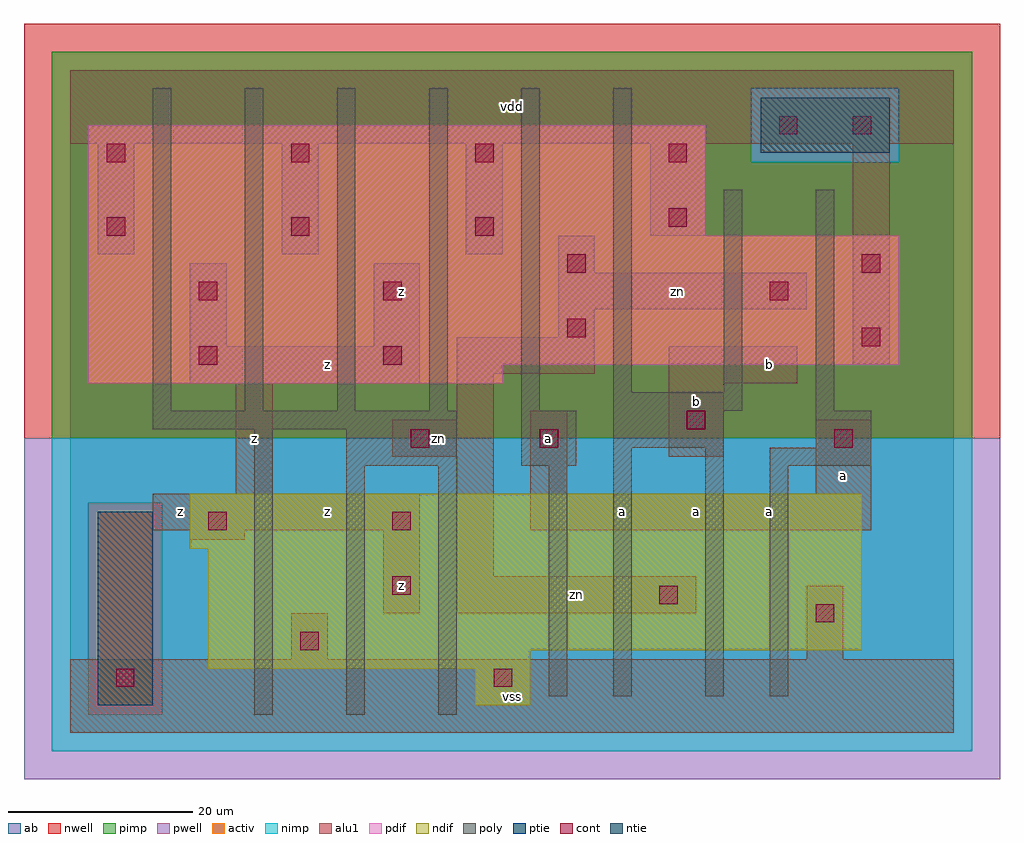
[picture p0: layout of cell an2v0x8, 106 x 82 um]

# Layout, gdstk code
import gdstk
lib = gdstk.Library(unit=1e-6, precision=1e-09)
def R(c, l, rs):  # rectangles x0, y0, x1, y1
    for r in rs: c.add(gdstk.rectangle(r[:2], r[2:], *l))
def A(c, l, x, y, w, h, nx, ny, dx, dy):  # array of equal rectangles
    R(c, l, [(x+i*dx, y+j*dy, x+i*dx+w, y+j*dy+h) for i in range(nx) for j in range(ny)])
ndif = (3, 0)
pdif = (4, 0)
ntie = (5, 0)
ptie = (6, 0)
cont = (25, 0)
pwell = (41, 0)
nwell = (42, 0)
activ = (43, 0)
pimp = (44, 0)
nimp = (45, 0)
poly = (46, 0)
alu1 = (49, 0)
ab = (63, 0)

an2v0x8 = lib.new_cell('an2v0x8')
R(an2v0x8, ndif, [(44,3,50,7), (15,7,50,9), (15,9,86,20), (13,20,86,26)])
R(an2v0x8, pdif, [(2,38,47,40), (2,40,90,54), (2,54,69,66)])
R(an2v0x8, ntie, [(75,63,89,69)])
R(an2v0x8, ptie, [(3,3,9,24)])
A(an2v0x8, cont, 4, 54, 2, 2, 3, 2, 20, 8)
R(an2v0x8, cont, [(5,5,7,7), (46,5,48,7), (25,9,27,11), (81,12,83,14), (64,14,66,16), (35,15,37,17), (15,22,17,24), (35,22,37,24), (37,31,39,33), (51,31,53,33), (83,31,85,33), (67,33,69,35), (14,40,16,42), (34,40,36,42), (86,42,88,44), (54,43,56,45), (14,47,16,49), (34,47,36,49), (76,47,78,49), (54,50,56,52), (86,50,88,52), (65,55,67,57), (65,62,67,64), (77,65,79,67), (85,65,87,67)])
R(an2v0x8, pwell, [(-5,-5,101,32)])
R(an2v0x8, nwell, [(-5,32,101,77)])
R(an2v0x8, activ, [(3,3,9,24), (44,3,50,7), (15,7,50,9), (15,9,86,20), (13,20,86,26), (2,38,47,40), (2,40,90,54), (2,54,69,66), (75,63,89,69)])
R(an2v0x8, pimp, [(2,2,10,25), (-2,32,98,62), (-2,62,74,70), (90,62,98,70), (-2,70,98,74)])
R(an2v0x8, nimp, [(-2,-2,98,2), (-2,2,2,25), (10,2,98,25), (-2,25,98,32), (74,62,90,70)])
A(an2v0x8, poly, 9, 35, 2, 35, 5, 1, 10, 0)
R(an2v0x8, poly, [(20,2,22,33), (30,2,32,29), (40,2,42,29), (52,4,54,29), (59,4,61,31), (69,4,71,31), (76,4,78,29), (30,29,42,33), (49,29,55,35), (76,29,87,31), (59,31,71,35), (81,31,87,35), (9,33,42,35), (59,35,73,37), (81,35,83,59), (59,37,61,70), (71,37,73,59)])
A(an2v0x8, alu1, 3, 52, 4, 12, 3, 1, 20, 0)
R(an2v0x8, alu1, [(0,0,96,8), (24,8,28,13), (80,8,84,16), (34,13,38,22), (42,13,68,17), (42,17,46,30), (13,21,19,22), (9,22,38,26), (50,22,87,26), (18,26,22,38), (50,26,54,35), (81,26,87,34), (35,30,46,34), (65,30,71,38), (42,34,46,39), (13,38,38,42), (65,38,79,42), (42,39,57,43), (85,40,89,64), (13,42,17,51), (33,42,38,51), (53,43,57,46), (53,46,80,50), (53,50,57,54), (63,54,69,64), (0,64,96,72)])
R(an2v0x8, ab, [(0,0,96,72)])
an2v0x8.add(gdstk.Label('zn', (40,32), layer=49, texttype=0))
an2v0x8.add(gdstk.Label('zn', (55,15), layer=49, texttype=0))
an2v0x8.add(gdstk.Label('zn', (66,48), layer=49, texttype=0))
an2v0x8.add(gdstk.Label('z', (20,32), layer=49, texttype=0))
an2v0x8.add(gdstk.Label('z', (12,24), layer=49, texttype=0))
an2v0x8.add(gdstk.Label('z', (36,16), layer=49, texttype=0))
an2v0x8.add(gdstk.Label('z', (28,24), layer=49, texttype=0))
an2v0x8.add(gdstk.Label('z', (28,40), layer=49, texttype=0))
an2v0x8.add(gdstk.Label('z', (36,48), layer=49, texttype=0))
an2v0x8.add(gdstk.Label('vss', (48,4), layer=49, texttype=0))
an2v0x8.add(gdstk.Label('a', (52,32), layer=49, texttype=0))
an2v0x8.add(gdstk.Label('a', (60,24), layer=49, texttype=0))
an2v0x8.add(gdstk.Label('a', (68,24), layer=49, texttype=0))
an2v0x8.add(gdstk.Label('b', (68,36), layer=49, texttype=0))
an2v0x8.add(gdstk.Label('vdd', (48,68), layer=49, texttype=0))
an2v0x8.add(gdstk.Label('a', (76,24), layer=49, texttype=0))
an2v0x8.add(gdstk.Label('a', (84,28), layer=49, texttype=0))
an2v0x8.add(gdstk.Label('b', (76,40), layer=49, texttype=0))

lib.write_gds('an2v0x8.gds')
